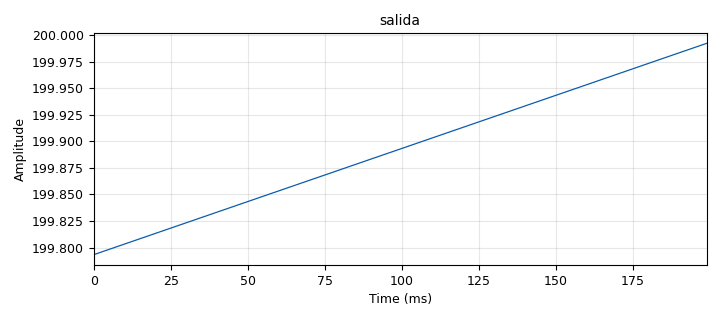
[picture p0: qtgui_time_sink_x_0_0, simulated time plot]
options:
  parameters:
    author: molan
    generate_options: qt_gui
    id: ACUMULADOR_JAROL
    output_language: python
    title: Not titled yet
  states: {}

blocks:
- name: samp_rate
  id: variable
  parameters:
    value: '1000'
  states: {}
- name: blocks_throttle2_0
  id: blocks_throttle2
  parameters:
    samples_per_second: samp_rate
    type: float
  states: {}
- name: blocks_vector_source_x_0
  id: blocks_vector_source_x
  parameters:
    repeat: 'True'
    type: float
    vector: (0.001, 0.001,0.001, 0.001,)
  states: {}
- name: epy_block_0
  id: epy_block
  parameters:
    _source_code: |-
      import numpy as np
      from gnuradio import gr

      class blk(gr.sync_block):

          def __init__(self):    # Doble guion bajo
              gr.sync_block.__init__(
                  self,
                  name='e_Acum',    
                  in_sig=[np.float32],
                  out_sig=[np.float32]
              )
              # Estado de memoria: guarda el último valor del bloque anterior
              self.valor_anterior = 0.0

          def work(self, input_items, output_items):
              x = input_items[0]    # Señal de entrada
              y0 = output_items[0]  # Señal de salida

              # Calculamos la suma acumulada y le sumamos el estado anterior
              y0[:] = self.valor_anterior + np.cumsum(x)
              
              # Guardamos el último valor de este bloque para usarlo en el siguiente
              if len(y0) > 0:
                  self.valor_anterior = y0[-1]

              return len(y0)  # Retornamos len(y0) en lugar de len(y)
  states: {}
- name: qtgui_time_sink_x_0
  id: qtgui_time_sink_x
  parameters:
    autoscale: 'True'
    size: '1024'
    srate: samp_rate
    type: float
  states: {}
- name: qtgui_time_sink_x_0_0
  id: qtgui_time_sink_x
  parameters:
    autoscale: 'True'
    name: '"salida"'
    size: '200'
    srate: samp_rate
    type: float
  states: {}

connections:
- [blocks_throttle2_0, '0', epy_block_0, '0']
- [blocks_vector_source_x_0, '0', blocks_throttle2_0, '0']
- [blocks_vector_source_x_0, '0', qtgui_time_sink_x_0, '0']
- [epy_block_0, '0', qtgui_time_sink_x_0_0, '0']

metadata:
  file_format: 1
  grc_version: 3.10.12.0
